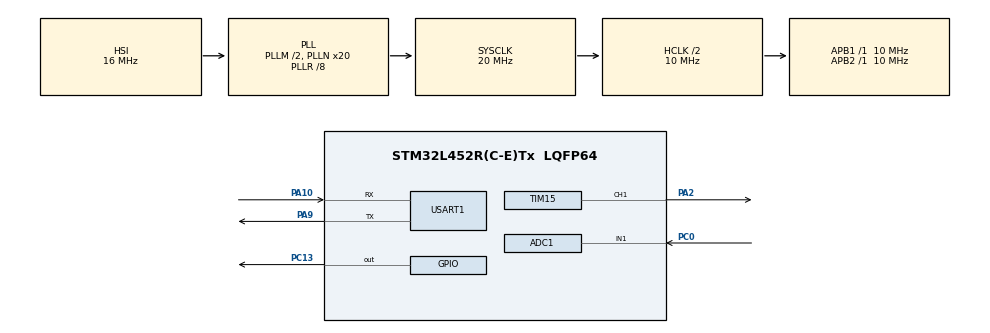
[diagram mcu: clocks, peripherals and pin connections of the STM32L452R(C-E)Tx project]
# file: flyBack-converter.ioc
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ADC1.Channel-0\#ChannelRegularConversion=ADC_CHANNEL_1
ADC1.NbrOfConversionFlag=1
ADC1.OffsetNumber-0\#ChannelRegularConversion=ADC_OFFSET_NONE
ADC1.Rank-0\#ChannelRegularConversion=1
ADC1.Resolution=ADC_RESOLUTION_12B
ADC1.SamplingTime-0\#ChannelRegularConversion=ADC_SAMPLETIME_2CYCLES_5
ADC1.master=1
Mcu.Family=STM32L4
Mcu.Name=STM32L452R(C-E)Tx
Mcu.Package=LQFP64
NVIC.ADC1_IRQn=true\:0\:0\:false\:false\:true\:true\:true\:true
NVIC.PriorityGroup=NVIC_PRIORITYGROUP_4
NVIC.TIM1_BRK_TIM15_IRQn=true\:0\:0\:false\:false\:true\:true\:true\:true
PA10.Mode=Asynchronous
PA10.Signal=USART1_RX
PA13\ (JTMS/SWDIO).Mode=Serial_Wire
PA13\ (JTMS/SWDIO).Signal=SYS_JTMS-SWDIO
PA14\ (JTCK/SWCLK).Mode=Serial_Wire
PA14\ (JTCK/SWCLK).Signal=SYS_JTCK-SWCLK
PA2.Signal=S_TIM15_CH1
PA9.Mode=Asynchronous
PA9.Signal=USART1_TX
PC0.Signal=ADCx_IN1
PC13.Signal=GPIO_Output
PC14-OSC32_IN\ (PC14).Mode=LSE-External-Oscillator
PC14-OSC32_IN\ (PC14).Signal=RCC_OSC32_IN
PC15-OSC32_OUT\ (PC15).Mode=LSE-External-Oscillator
PC15-OSC32_OUT\ (PC15).Signal=RCC_OSC32_OUT
ProjectManager.HeapSize=0x200
ProjectManager.StackSize=0x400
ProjectManager.TargetToolchain=STM32CubeIDE
RCC.ADCFreq_Value=10000000
RCC.AHBCLKDivider=RCC_SYSCLK_DIV2
RCC.AHBFreq_Value=10000000
RCC.APB1Freq_Value=10000000
RCC.APB1TimFreq_Value=10000000
RCC.APB2Freq_Value=10000000
RCC.APB2TimFreq_Value=10000000
RCC.CortexFreq_Value=10000000
RCC.HCLKFreq_Value=10000000
RCC.HSE_VALUE=8000000
RCC.HSI48_VALUE=48000000
RCC.HSI_VALUE=16000000
RCC.MSI_VALUE=4000000
RCC.PLLM=2
RCC.PLLN=20
RCC.PLLR=RCC_PLLR_DIV8
RCC.PLLSAI1N=10
RCC.PLLSAI1R=RCC_PLLR_DIV8
RCC.PLLSourceVirtual=RCC_PLLSOURCE_HSI
RCC.RTCClockSelection=RCC_RTCCLKSOURCE_LSE
RCC.SYSCLKFreq_VALUE=20000000
RCC.SYSCLKSource=RCC_SYSCLKSOURCE_PLLCLK
RCC.USBFreq_Value=40000000
RCC.VCOOutputFreq_Value=160000000
SH.ADCx_IN1.0=ADC1_IN1,IN1-Single-Ended
SH.S_TIM15_CH1.0=TIM15_CH1,PWM Generation1 CH1
TIM15.Channel-PWM\ Generation1\ CH1=TIM_CHANNEL_1
TIM15.OCMode_PWM-PWM\ Generation1\ CH1=TIM_OCMODE_PWM1
TIM15.OCPolarity_1=TIM_OCPOLARITY_LOW
TIM15.Period=1000-1
TIM15.Prescaler=0
TIM15.Pulse-PWM\ Generation1\ CH1=972
USART1.VirtualMode-Asynchronous=VM_ASYNC
VP_TIM15_VS_ClockSourceINT.Mode=Internal
board=custom

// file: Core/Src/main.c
/* USER CODE BEGIN Header */
/**
  ******************************************************************************
  * @file           : main.c
  * @brief          : Main program body
  ******************************************************************************
  * @attention
  *
  * Copyright (c) 2024 STMicroelectronics.
  * All rights reserved.
  *
  * This software is licensed under terms that can be found in the LICENSE file
  * in the root directory of this software component.
  * If no LICENSE file comes with this software, it is provided AS-IS.
  *
  ******************************************************************************
  */
/* USER CODE END Header */
#include "main.h"

/* USER CODE BEGIN Includes */
#include "string.h"
#include "stdio.h"
#include "stdbool.h"
#include "hv_pump.h"
/* USER CODE END Includes */

ADC_HandleTypeDef hadc1;

TIM_HandleTypeDef htim15;

UART_HandleTypeDef huart1;

/* USER CODE BEGIN PV */

extern bool HVpumpInit;
extern uint16_t adcHVvalue;

bool enableDataTransmit = 0;
char trans_str[64] = {0,};
volatile uint16_t adc = 0;
uint32_t counter = 0;

/* USER CODE END PV */

void SystemClock_Config(void);
static void MX_GPIO_Init(void);
static void MX_USART1_UART_Init(void);
static void MX_ADC1_Init(void);
static void MX_TIM15_Init(void);

/* USER CODE BEGIN 0 */
void HAL_ADC_ConvCpltCallback(ADC_HandleTypeDef* hadc)
	{
	    if(hadc->Instance == ADC1) //check if the interrupt comes from ACD1
	    {
	    	adcHVvalue = measureHV();
	    	ADC_To_GPIO();
	    }
	}

void HAL_TIM_PWM_PulseFinishedCallback(TIM_HandleTypeDef *htim)
	{
	        if(htim->Instance == TIM15)
	        {
	        	counter++;
		        if(counter == 10)
		        {
		        	counter = 0;
		        	HVpumpInit = true;
		        	stopPump();
		        }
	        }

	}

/*void HAL_TIM_OC_DelayElapsedCallback(TIM_HandleTypeDef *htim)
{
        if(htim->Instance == TIM15)
        {

        }
}*/

//void TIM1_BRK_TIM15_IRQHandler(void)
//{
//
//}
/* USER CODE END 0 */

int main(void)
{

  /* MCU Configuration--------------------------------------------------------*/

  /* Reset of all peripherals, Initializes the Flash interface and the Systick. */
  HAL_Init();

  /* Configure the system clock */
  SystemClock_Config();

  /* Initialize all configured peripherals */
  MX_GPIO_Init();
  MX_USART1_UART_Init();
  MX_ADC1_Init();
  MX_TIM15_Init();
  /* USER CODE BEGIN 2 */
  initHV();
  uint32_t checkTimer = 0;
  /* USER CODE END 2 */

  /* Infinite loop */
  /* USER CODE BEGIN WHILE */
  while (1)
  {
	  /*if(enableDataTransmit == true)
	  {
		  snprintf(trans_str, 63, "ADC %d\n", (uint16_t)measureHV());
		  HAL_UART_Transmit(&huart1, (uint8_t*)trans_str, strlen(trans_str), 1000);
		  enableDataTransmit = false;
	  }
	  if(HAL_GetTick() - checkTimer >= 1000)
	  {
	  		  checkTimer = HAL_GetTick();
	  		  startADC();
	  		  enableDataTransmit = true;
	  }
	  if(measureHV() < 1500)
	  {
		  startPump();
	  }
	  else
	  {
		  stopPump();
	  }*/
//	  if(counter == 10)
//	  {
//		  stopPump();
//		  startADC();
//		  if(measureHV() <= 1500)
//		  {
//			  startPump();
//		  }
//		  HAL_Delay(5000);
//		  	  counter = 0;
//		  	  HAL_TIM_PWM_Start_IT(&htim15, TIM_CHANNEL_1);
//
//	  }

    /* USER CODE END WHILE */

  }
}

void SystemClock_Config(void)
{
  RCC_OscInitTypeDef RCC_OscInitStruct = {0};
  RCC_ClkInitTypeDef RCC_ClkInitStruct = {0};

  /** Configure the main internal regulator output voltage
  */
  if (HAL_PWREx_ControlVoltageScaling(PWR_REGULATOR_VOLTAGE_SCALE1) != HAL_OK)
  {
    Error_Handler();
  }

  /** Initializes the RCC Oscillators according to the specified parameters
  * in the RCC_OscInitTypeDef structure.
  */
  RCC_OscInitStruct.OscillatorType = RCC_OSCILLATORTYPE_HSI;
  RCC_OscInitStruct.HSIState = RCC_HSI_ON;
  RCC_OscInitStruct.HSICalibrationValue = 64;
  RCC_OscInitStruct.PLL.PLLState = RCC_PLL_ON;
  RCC_OscInitStruct.PLL.PLLSource = RCC_PLLSOURCE_HSI;
  RCC_OscInitStruct.PLL.PLLM = 2;
  RCC_OscInitStruct.PLL.PLLN = 20;
  RCC_OscInitStruct.PLL.PLLP = RCC_PLLP_DIV7;
  RCC_OscInitStruct.PLL.PLLQ = RCC_PLLQ_DIV2;
  RCC_OscInitStruct.PLL.PLLR = RCC_PLLR_DIV8;
  if (HAL_RCC_OscConfig(&RCC_OscInitStruct) != HAL_OK)
  {
    Error_Handler();
  }

  /** Initializes the CPU, AHB and APB buses clocks
  */
  RCC_ClkInitStruct.ClockType = RCC_CLOCKTYPE_HCLK|RCC_CLOCKTYPE_SYSCLK
                              |RCC_CLOCKTYPE_PCLK1|RCC_CLOCKTYPE_PCLK2;
  RCC_ClkInitStruct.SYSCLKSource = RCC_SYSCLKSOURCE_PLLCLK;
  RCC_ClkInitStruct.AHBCLKDivider = RCC_SYSCLK_DIV2;
  RCC_ClkInitStruct.APB1CLKDivider = RCC_HCLK_DIV1;
  RCC_ClkInitStruct.APB2CLKDivider = RCC_HCLK_DIV1;

  if (HAL_RCC_ClockConfig(&RCC_ClkInitStruct, FLASH_LATENCY_0) != HAL_OK)
  {
    Error_Handler();
  }
}

static void MX_ADC1_Init(void)
{

  ADC_ChannelConfTypeDef sConfig = {0};

  /** Common config
  */
  hadc1.Instance = ADC1;
  hadc1.Init.ClockPrescaler = ADC_CLOCK_ASYNC_DIV1;
  hadc1.Init.Resolution = ADC_RESOLUTION_12B;
  hadc1.Init.DataAlign = ADC_DATAALIGN_RIGHT;
  hadc1.Init.ScanConvMode = ADC_SCAN_DISABLE;
  hadc1.Init.EOCSelection = ADC_EOC_SINGLE_CONV;
  hadc1.Init.LowPowerAutoWait = DISABLE;
  hadc1.Init.ContinuousConvMode = DISABLE;
  hadc1.Init.NbrOfConversion = 1;
  hadc1.Init.DiscontinuousConvMode = DISABLE;
  hadc1.Init.ExternalTrigConv = ADC_SOFTWARE_START;
  hadc1.Init.ExternalTrigConvEdge = ADC_EXTERNALTRIGCONVEDGE_NONE;
  hadc1.Init.DMAContinuousRequests = DISABLE;
  hadc1.Init.Overrun = ADC_OVR_DATA_PRESERVED;
  hadc1.Init.OversamplingMode = DISABLE;
  if (HAL_ADC_Init(&hadc1) != HAL_OK)
  {
    Error_Handler();
  }

  /** Configure Regular Channel
  */
  sConfig.Channel = ADC_CHANNEL_1;
  sConfig.Rank = ADC_REGULAR_RANK_1;
  sConfig.SamplingTime = ADC_SAMPLETIME_2CYCLES_5;
  sConfig.SingleDiff = ADC_SINGLE_ENDED;
  sConfig.OffsetNumber = ADC_OFFSET_NONE;
  sConfig.Offset = 0;
  if (HAL_ADC_ConfigChannel(&hadc1, &sConfig) != HAL_OK)
  {
    Error_Handler();
  }

}

static void MX_TIM15_Init(void)
{

  TIM_ClockConfigTypeDef sClockSourceConfig = {0};
  TIM_MasterConfigTypeDef sMasterConfig = {0};
  TIM_OC_InitTypeDef sConfigOC = {0};
  TIM_BreakDeadTimeConfigTypeDef sBreakDeadTimeConfig = {0};

  htim15.Instance = TIM15;
  htim15.Init.Prescaler = 0;
  htim15.Init.CounterMode = TIM_COUNTERMODE_UP;
  htim15.Init.Period = 1000-1;
  htim15.Init.ClockDivision = TIM_CLOCKDIVISION_DIV1;
  htim15.Init.RepetitionCounter = 0;
  htim15.Init.AutoReloadPreload = TIM_AUTORELOAD_PRELOAD_DISABLE;
  if (HAL_TIM_Base_Init(&htim15) != HAL_OK)
  {
    Error_Handler();
  }
  sClockSourceConfig.ClockSource = TIM_CLOCKSOURCE_INTERNAL;
  if (HAL_TIM_ConfigClockSource(&htim15, &sClockSourceConfig) != HAL_OK)
  {
    Error_Handler();
  }
  if (HAL_TIM_PWM_Init(&htim15) != HAL_OK)
  {
    Error_Handler();
  }
  sMasterConfig.MasterOutputTrigger = TIM_TRGO_RESET;
  sMasterConfig.MasterSlaveMode = TIM_MASTERSLAVEMODE_DISABLE;
  if (HAL_TIMEx_MasterConfigSynchronization(&htim15, &sMasterConfig) != HAL_OK)
  {
    Error_Handler();
  }
  sConfigOC.OCMode = TIM_OCMODE_PWM1;
  sConfigOC.Pulse = 972;
  sConfigOC.OCPolarity = TIM_OCPOLARITY_LOW;
  sConfigOC.OCNPolarity = TIM_OCNPOLARITY_HIGH;
  sConfigOC.OCFastMode = TIM_OCFAST_DISABLE;
  sConfigOC.OCIdleState = TIM_OCIDLESTATE_RESET;
  sConfigOC.OCNIdleState = TIM_OCNIDLESTATE_RESET;
  if (HAL_TIM_PWM_ConfigChannel(&htim15, &sConfigOC, TIM_CHANNEL_1) != HAL_OK)
  {
    Error_Handler();
  }
  sBreakDeadTimeConfig.OffStateRunMode = TIM_OSSR_DISABLE;
  sBreakDeadTimeConfig.OffStateIDLEMode = TIM_OSSI_DISABLE;
  sBreakDeadTimeConfig.LockLevel = TIM_LOCKLEVEL_OFF;
  sBreakDeadTimeConfig.DeadTime = 0;
  sBreakDeadTimeConfig.BreakState = TIM_BREAK_DISABLE;
  sBreakDeadTimeConfig.BreakPolarity = TIM_BREAKPOLARITY_HIGH;
  sBreakDeadTimeConfig.AutomaticOutput = TIM_AUTOMATICOUTPUT_DISABLE;
  if (HAL_TIMEx_ConfigBreakDeadTime(&htim15, &sBreakDeadTimeConfig) != HAL_OK)
  {
    Error_Handler();
  }
  HAL_TIM_MspPostInit(&htim15);

}

static void MX_USART1_UART_Init(void)
{

  huart1.Instance = USART1;
  huart1.Init.BaudRate = 115200;
  huart1.Init.WordLength = UART_WORDLENGTH_8B;
  huart1.Init.StopBits = UART_STOPBITS_1;
  huart1.Init.Parity = UART_PARITY_NONE;
  huart1.Init.Mode = UART_MODE_TX_RX;
  huart1.Init.HwFlowCtl = UART_HWCONTROL_NONE;
  huart1.Init.OverSampling = UART_OVERSAMPLING_16;
  huart1.Init.OneBitSampling = UART_ONE_BIT_SAMPLE_DISABLE;
  huart1.AdvancedInit.AdvFeatureInit = UART_ADVFEATURE_NO_INIT;
  if (HAL_UART_Init(&huart1) != HAL_OK)
  {
    Error_Handler();
  }

}

static void MX_GPIO_Init(void)
{
  GPIO_InitTypeDef GPIO_InitStruct = {0};

  /* GPIO Ports Clock Enable */
  __HAL_RCC_GPIOC_CLK_ENABLE();
  __HAL_RCC_GPIOA_CLK_ENABLE();

  /*Configure GPIO pin Output Level */
  HAL_GPIO_WritePin(GPIOC, GPIO_PIN_13, GPIO_PIN_RESET);

  /*Configure GPIO pin : PC13 */
  GPIO_InitStruct.Pin = GPIO_PIN_13;
  GPIO_InitStruct.Mode = GPIO_MODE_OUTPUT_PP;
  GPIO_InitStruct.Pull = GPIO_NOPULL;
  GPIO_InitStruct.Speed = GPIO_SPEED_FREQ_LOW;
  HAL_GPIO_Init(GPIOC, &GPIO_InitStruct);

}

void Error_Handler(void)
{
  __disable_irq();
  while (1)
  {
  }
}
